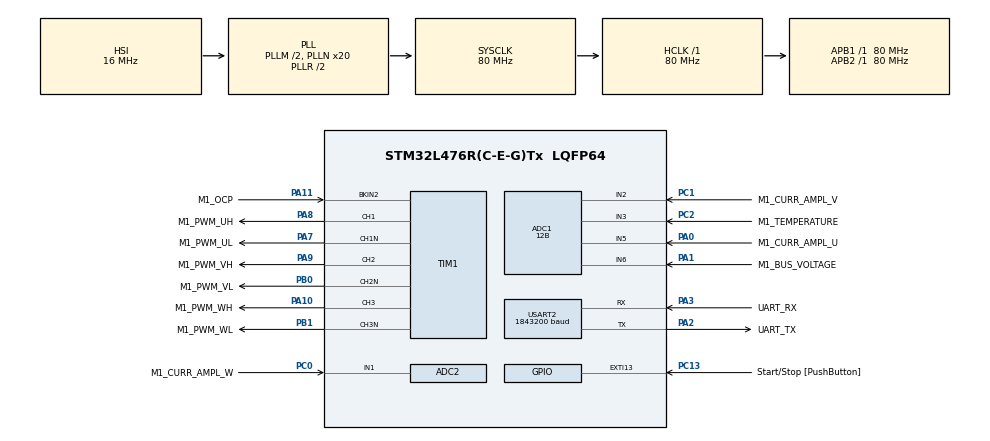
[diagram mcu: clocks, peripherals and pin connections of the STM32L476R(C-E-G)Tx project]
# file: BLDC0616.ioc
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ADC1.Channel-1\#ChannelRegularConversion=ADC_CHANNEL_6
ADC1.Channel-2\#ChannelRegularConversion=ADC_CHANNEL_3
ADC1.ClockPrescaler=ADC_CLOCK_ASYNC_DIV1
ADC1.ContinuousConvMode=DISABLE
ADC1.DMAContinuousRequests=DISABLE
ADC1.DataAlign=ADC_DATAALIGN_LEFT
ADC1.DiscontinuousConvMode=DISABLE
ADC1.EOCSelection=ADC_EOC_SINGLE_CONV
ADC1.EnableAnalogWatchDog1=false
ADC1.EnableAnalogWatchDog2=false
ADC1.EnableAnalogWatchDog3=false
ADC1.EnableInjectedConversion=ENABLE
ADC1.EnableRegularConversion=ENABLE
ADC1.ExternalTrigConv=ADC_SOFTWARE_START
ADC1.ExternalTrigConvEdge=ADC_EXTERNALTRIGCONVEDGE_NONE
ADC1.ExternalTrigInjecConv=ADC_EXTERNALTRIGINJEC_T1_TRGO
ADC1.ExternalTrigInjecConvEdge=ADC_EXTERNALTRIGINJECCONV_EDGE_RISING
ADC1.InjNumberOfConversion=2
ADC1.InjectedChannel-1\#ChannelInjectedConversion=ADC_CHANNEL_5
ADC1.InjectedChannel-2\#ChannelInjectedConversion=ADC_CHANNEL_2
ADC1.InjectedConvMode=None
ADC1.InjectedOffset-1\#ChannelInjectedConversion=0
ADC1.InjectedOffset-2\#ChannelInjectedConversion=0
ADC1.InjectedOffsetNumber-1\#ChannelInjectedConversion=ADC_OFFSET_NONE
ADC1.InjectedOffsetNumber-2\#ChannelInjectedConversion=ADC_OFFSET_NONE
ADC1.InjectedRank-1\#ChannelInjectedConversion=1
ADC1.InjectedRank-2\#ChannelInjectedConversion=2
ADC1.InjectedSamplingTime-1\#ChannelInjectedConversion=ADC_SAMPLETIME_12CYCLES_5
ADC1.InjectedSamplingTime-2\#ChannelInjectedConversion=ADC_SAMPLETIME_12CYCLES_5
ADC1.LowPowerAutoWait=DISABLE
ADC1.NbrOfConversion=2
ADC1.NbrOfConversionFlag=1
ADC1.Offset-1\#ChannelRegularConversion=0
ADC1.Offset-2\#ChannelRegularConversion=0
ADC1.OffsetNumber-1\#ChannelRegularConversion=ADC_OFFSET_NONE
ADC1.OffsetNumber-2\#ChannelRegularConversion=ADC_OFFSET_NONE
ADC1.Overrun=ADC_OVR_DATA_PRESERVED
ADC1.Rank-1\#ChannelRegularConversion=1
ADC1.Rank-2\#ChannelRegularConversion=2
ADC1.Resolution=ADC_RESOLUTION_12B
ADC1.SamplingTime-1\#ChannelRegularConversion=ADC_SAMPLETIME_92CYCLES_5
ADC1.SamplingTime-2\#ChannelRegularConversion=ADC_SAMPLETIME_92CYCLES_5
ADC1.ScanConvMode=ADC_SCAN_ENABLE
ADC1.master=1
ADC2.ClockPrescaler=ADC_CLOCK_ASYNC_DIV1
ADC2.ContinuousConvMode=DISABLE
ADC2.DMAContinuousRequests=DISABLE
ADC2.DataAlign=ADC_DATAALIGN_LEFT
ADC2.DiscontinuousConvMode=DISABLE
ADC2.EOCSelection=ADC_EOC_SINGLE_CONV
ADC2.EnableAnalogWatchDog1=false
ADC2.EnableAnalogWatchDog2=false
ADC2.EnableAnalogWatchDog3=false
ADC2.EnableInjectedConversion=ENABLE
ADC2.EnableRegularConversion=DISABLE
ADC2.ExternalTrigInjecConv=ADC_EXTERNALTRIGINJEC_T1_TRGO
ADC2.ExternalTrigInjecConvEdge=ADC_EXTERNALTRIGINJECCONV_EDGE_RISING
ADC2.InjNumberOfConversion=2
ADC2.InjectedChannel-1\#ChannelInjectedConversion=ADC_CHANNEL_2
ADC2.InjectedChannel-2\#ChannelInjectedConversion=ADC_CHANNEL_1
ADC2.InjectedConvMode=Discontinuous
ADC2.InjectedOffset-1\#ChannelInjectedConversion=0
ADC2.InjectedOffset-2\#ChannelInjectedConversion=0
ADC2.InjectedOffsetNumber-1\#ChannelInjectedConversion=ADC_OFFSET_NONE
ADC2.InjectedOffsetNumber-2\#ChannelInjectedConversion=ADC_OFFSET_NONE
ADC2.InjectedRank-1\#ChannelInjectedConversion=1
ADC2.InjectedRank-2\#ChannelInjectedConversion=2
ADC2.InjectedSamplingTime-1\#ChannelInjectedConversion=ADC_SAMPLETIME_12CYCLES_5
ADC2.InjectedSamplingTime-2\#ChannelInjectedConversion=ADC_SAMPLETIME_12CYCLES_5
ADC2.LowPowerAutoWait=DISABLE
ADC2.Overrun=ADC_OVR_DATA_PRESERVED
ADC2.Resolution=ADC_RESOLUTION_12B
ADC2.ScanConvMode=ADC_SCAN_ENABLE
ADC2.master=1
Dma.Request0=USART2_RX
Dma.Request1=USART2_TX
Dma.USART2_RX.0.Direction=DMA_PERIPH_TO_MEMORY
Dma.USART2_RX.0.Instance=DMA1_Channel6
Dma.USART2_RX.0.MemDataAlignment=DMA_MDATAALIGN_BYTE
Dma.USART2_RX.0.MemInc=DMA_MINC_ENABLE
Dma.USART2_RX.0.Mode=DMA_NORMAL
Dma.USART2_RX.0.PeriphDataAlignment=DMA_PDATAALIGN_BYTE
Dma.USART2_RX.0.PeriphInc=DMA_PINC_DISABLE
Dma.USART2_RX.0.Priority=DMA_PRIORITY_LOW
Dma.USART2_TX.1.Direction=DMA_MEMORY_TO_PERIPH
Dma.USART2_TX.1.Instance=DMA1_Channel7
Dma.USART2_TX.1.MemDataAlignment=DMA_MDATAALIGN_BYTE
Dma.USART2_TX.1.MemInc=DMA_MINC_ENABLE
Dma.USART2_TX.1.Mode=DMA_NORMAL
Dma.USART2_TX.1.PeriphDataAlignment=DMA_PDATAALIGN_BYTE
Dma.USART2_TX.1.PeriphInc=DMA_PINC_DISABLE
Dma.USART2_TX.1.Priority=DMA_PRIORITY_LOW
ExtraMW=MotorControl
ExtraMW.MotorControl.Config=MotorControl
ExtraMW.MotorControl.Mode=MotorControl
ExtraMW.MotorControl.Root=MCSDK_v6.4.2-Full/MotorControl
ExtraMW.MotorControl.Template=templates
Mcu.Family=STM32L4
Mcu.Name=STM32L476R(C-E-G)Tx
Mcu.Package=LQFP64
MotorControl.ADC_1_PERIPH=ADC1
MotorControl.ADC_2_PERIPH=ADC2
MotorControl.ADC_AHBPERIPH=RCC_AHBPeriph_ADC12
MotorControl.ADC_CLOCK_WB_DIV=1
MotorControl.ADC_PERIPH=ADC1
MotorControl.ADC_REFERENCE_VOLTAGE=3.3
MotorControl.BOARD=NUCLEO-L476RG
MotorControl.BUS_VOLTAGE_READING=true
MotorControl.CCMRAM_ENABLED=false
MotorControl.CLOCK_FREQUENCY=CPU_CLK_80_MHZ
MotorControl.CLOCK_SOURCE=INTERNAL
MotorControl.CPU_CLK_80_MHZ=true
MotorControl.CTLBOARD_NAME=NUCLEO-L476RG
MotorControl.CUBE_MX_VER=6.17.0
MotorControl.CURRENT_READING_TOPOLOGY=THREE_SHUNT_INDEPENDENT_RESOURCES
MotorControl.CURR_SAMPLING_TIME=12
MotorControl.DBG_MCU_LOAD_MEASURE=false
MotorControl.DEBUG_DAC_FUNCTIONALITY_EN=false
MotorControl.DRIVES_NUMBER_SELECTION=SINGLEDRIVE
MotorControl.DRIVE_NUMBER=1
MotorControl.DRIVE_TYPE=FOC
MotorControl.EMERGENCY_STOP_GPIO_PIN=LL_GPIO_PIN_11
MotorControl.EMERGENCY_STOP_GPIO_PORT=GPIOA
MotorControl.ENCODER_AVAILABLE=false
MotorControl.ENCODER_PPR=400
MotorControl.EXT_CLOCK_FREQUENCY=INT_RC_OSC
MotorControl.FEEDBACK_NET_FILTERING=false
MotorControl.FLASH_SIZE=1024
MotorControl.HALL_SENSORS_AVAILABLE=false
MotorControl.HIGH_SIDE_IDLE_STATE=false
MotorControl.HWV_CS=ThreeShunt_AmplifiedCurrents
MotorControl.HWV_OCP=OnPowerStageOCP
MotorControl.HWV_PWM=DrivingHighAndLowSides
MotorControl.HW_COMPLEMENTED_LOW_SIDE=false
MotorControl.HW_DEAD_TIME_NS=1000
MotorControl.INT_RC_OSC=true
MotorControl.IPs=NVIC,RCC,SYS,MotorControl,TIM1,ADC1,ADC2,USART2,DMA
MotorControl.LOW_MEMORY_FOOTPRINT_REG=false
MotorControl.LOW_SIDE_IDLE_STATE=false
MotorControl.LOW_SIDE_SIGNALS_ENABLING=LS_PWM_TIMER
MotorControl.M1_AMPLIFICATION_GAIN=5.18
MotorControl.M1_ANGC={0,0,0,0,0,0,0,0}
MotorControl.M1_AUXILIARY_SPEED_SENSOR=NONE
MotorControl.M1_BEMF_CONSISTENCY_GAIN=64
MotorControl.M1_BEMF_CONSISTENCY_TOL=64
MotorControl.M1_BOARD_MAX_CURRENT=14.175
MotorControl.M1_BUS_VOLTAGE_READING=true
MotorControl.M1_COMMUTATION_STEP_TIME_BUF_SIZE=12
MotorControl.M1_CONSTANT1_D=232159
MotorControl.M1_CONSTANT1_Q=232159
MotorControl.M1_CONSTANT2_QD=44062
MotorControl.M1_CS_ADC_NUM=2
MotorControl.M1_CS_ADC_PHASE_SHARED=V
MotorControl.M1_CS_ADC_U=ADC1
MotorControl.M1_CS_ADC_W=ADC2
MotorControl.M1_CS_CHANNEL_SHARED=2
MotorControl.M1_CS_CHANNEL_U=5
MotorControl.M1_CS_CHANNEL_V=2
MotorControl.M1_CS_CHANNEL_W=1
MotorControl.M1_CURRENT_AMPLIFICATION_TOPO=EXTERNAL
MotorControl.M1_CURRENT_SENSING_TOPO=THREE_SHUNT
MotorControl.M1_CURR_SAMPLING_TIME=12
MotorControl.M1_DBG_OPEN_LOOP_ENABLE=false
MotorControl.M1_DC_CURRENT_RS_MEAS=14.18
MotorControl.M1_DEFAULT_CONTROL_MODE=STC_SPEED_MODE
MotorControl.M1_DEFAULT_FLUX_COMPONENT=0
MotorControl.M1_DEFAULT_TARGET_SPEED_RPM=1799
MotorControl.M1_DEFAULT_TORQUE_COMPONENT=0
MotorControl.M1_DISCONTINUOUS_PWM=false
MotorControl.M1_DP_TOPOLOGY=NONE
MotorControl.M1_DRIVE_TYPE=FOC
MotorControl.M1_ENABLE_SL_ALGO_FROM_PHASE=2
MotorControl.M1_ENCODER_PPR=400
MotorControl.M1_F1=16384
MotorControl.M1_F2=4096
MotorControl.M1_FEED_FORWARD_CURRENT_REG_ENABLING=false
MotorControl.M1_FLUX_WEAKENING_ENABLING=false
MotorControl.M1_FW_KIDIV=32768
MotorControl.M1_FW_KI_GAIN=5000
MotorControl.M1_FW_KPDIV=32768
MotorControl.M1_FW_KP_GAIN=3000
MotorControl.M1_FW_VOLTAGE_REF=985
MotorControl.M1_GAIN1=-24188
MotorControl.M1_GAIN2=19539
MotorControl.M1_HALL_PHASE_SHIFT=300
MotorControl.M1_HALL_SENSORS_PLACEMENT=DEGREES_120
MotorControl.M1_HIGH_SIDE_IDLE_STATE=false
MotorControl.M1_HW_DEAD_TIME_NS=1000
MotorControl.M1_ICL_ENABLED=false
MotorControl.M1_ID_DEMAG=-14.175
MotorControl.M1_IQMAX=14.175
MotorControl.M1_LDLQ_RATIO=1.000
MotorControl.M1_LOW_SIDE_IDLE_STATE=false
MotorControl.M1_LOW_SIDE_SIGNALS_ENABLING=LS_PWM_TIMER
MotorControl.M1_LS=0.00028
MotorControl.M1_MAX_APPLICATION_SPEED=4998
MotorControl.M1_MAX_MODULATION_INDEX=100
MotorControl.M1_MIN_APPLICATION_SPEED=0
MotorControl.M1_MOTOR_MAX_SPEED_RPM=4998
MotorControl.M1_MOTOR_NAME=56JXE
MotorControl.M1_MOTOR_RATED_FLUX=0.085065594
MotorControl.M1_MOTOR_VOLTAGE_CONSTANT=3.5
MotorControl.M1_MTPA_ENABLING=false
MotorControl.M1_NB_CONSECUTIVE_TESTS=2
MotorControl.M1_NOMINAL_BUS_VOLTAGE_V=23
MotorControl.M1_NOMINAL_CURRENT=14.175
MotorControl.M1_OBS_MINIMUM_SPEED_RPM=1799
MotorControl.M1_OCP_BKIN_FILTER=4
MotorControl.M1_OCP_BKIN_MODE=EXT_MODE
MotorControl.M1_OCP_BKIN_POLARITY=EMSTOP_ACTIVE_LOW
MotorControl.M1_OCP_DESTINATION=TIM_BKIN2
MotorControl.M1_OCP_TOPOLOGY=EXTERNAL
MotorControl.M1_OFST={0,0,0,0,0,0,0,0}
MotorControl.M1_ON_OVER_VOLTAGE=TURN_OFF_PWM
MotorControl.M1_OVERMODULATION=false
MotorControl.M1_OVP_THRESHOLD_HIGH=28.1
MotorControl.M1_OV_TEMPERATURE_HYSTERESIS_C=10
MotorControl.M1_OV_TEMPERATURE_PROT_ENABLING=true
MotorControl.M1_OV_TEMPERATURE_THRESHOLD_C=110
MotorControl.M1_OV_VOLTAGE_PROT_ENABLING=true
MotorControl.M1_OV_VOLTAGE_THRESHOLD_V=28.1
MotorControl.M1_PHASE1_DURATION=1000
MotorControl.M1_PHASE1_FINAL_CURRENT=5
MotorControl.M1_PHASE1_FINAL_SPEED_RPM=0
MotorControl.M1_PHASE2_DURATION=3998
MotorControl.M1_PHASE2_FINAL_CURRENT=5
MotorControl.M1_PHASE2_FINAL_SPEED_RPM=1999
MotorControl.M1_PHASE3_DURATION=0
MotorControl.M1_PHASE3_FINAL_CURRENT=14.175
MotorControl.M1_PHASE3_FINAL_SPEED_RPM=1999
MotorControl.M1_PHASE4_DURATION=0
MotorControl.M1_PHASE4_FINAL_CURRENT=14.175
MotorControl.M1_PHASE4_FINAL_SPEED_RPM=1999
MotorControl.M1_PHASE5_DURATION=0
MotorControl.M1_PHASE5_FINAL_CURRENT=14.175
MotorControl.M1_PHASE5_FINAL_SPEED_RPM=1999
MotorControl.M1_PID_FLUX_KD_DEFAULT=100
MotorControl.M1_PID_FLUX_KI_DEFAULT=2365
MotorControl.M1_PID_FLUX_KP_DEFAULT=2339
MotorControl.M1_PID_SPEED_KD_DEFAULT=0
MotorControl.M1_PID_SPEED_KI_DEFAULT=24
MotorControl.M1_PID_SPEED_KP_DEFAULT=3051
MotorControl.M1_PID_TORQUE_KD_DEFAULT=100
MotorControl.M1_PID_TORQUE_KI_DEFAULT=2365
MotorControl.M1_PID_TORQUE_KP_DEFAULT=2339
MotorControl.M1_PLL_KI_GAIN=15
MotorControl.M1_PLL_KP_GAIN=332
MotorControl.M1_POLE_PAIR_NUM=2
MotorControl.M1_POSITION_CTRL_ENABLING=false
MotorControl.M1_POTENTIOMETER_ENABLE=false
MotorControl.M1_POWERBOARD_NAME=X-NUCLEO-IHM08M1
MotorControl.M1_PWM_CHARGE_BOOT_CAP_DUTY_CYCLES=0.000
MotorControl.M1_PWM_CHARGE_BOOT_CAP_MS=10
MotorControl.M1_PWM_DRIVER_PN=L6398
MotorControl.M1_PWM_FREQUENCY=16000
MotorControl.M1_PWM_TIMER_BRK_IRQ=TIM1_BRK_TIM15
MotorControl.M1_PWM_TIMER_SELECTION=PWM_TIM1
MotorControl.M1_PWM_TIMER_UP_IRQ=TIM1_UP_TIM16
MotorControl.M1_REGULATION_EXECUTION_RATE=1
MotorControl.M1_RS=0.14
MotorControl.M1_RSHUNT=0.01
MotorControl.M1_SEGDIV=0
MotorControl.M1_SHARED_SIGNAL_ENABLE=false
MotorControl.M1_SPD_DIFFERENTIAL_TERM_ENABLING=false
MotorControl.M1_SPEED_BAND_LOWER_LIMIT=15
MotorControl.M1_SPEED_BAND_UPPER_LIMIT=17
MotorControl.M1_SPEED_FEEDBACK_CHECK=true
MotorControl.M1_SPEED_LOOP_FREQUENCY_HZ=1000
MotorControl.M1_SPEED_SENSOR=STO_PLL
MotorControl.M1_SP_KDDIV=16
MotorControl.M1_SP_KIDIV=16384
MotorControl.M1_SP_KPDIV=16384
MotorControl.M1_SS_MEAS_ERRORS_BEFORE_FAULTS=100
MotorControl.M1_STARTING_ANGLE_DEG=0
MotorControl.M1_STO_FIFO_DEPTH_01HZ=64
MotorControl.M1_STO_FIFO_DEPTH_DPP=64
MotorControl.M1_SW_DEADTIME_NS=850
MotorControl.M1_T0_C=25
MotorControl.M1_TEMPERATURE_READING=true
MotorControl.M1_TEMP_ADC_SAMPLING_TIME=92
MotorControl.M1_TEMP_FDBK_ADC=ADC1
MotorControl.M1_TEMP_FDBK_CHANNEL=ADC_CHANNEL_3
MotorControl.M1_TF_KDDIV=8192
MotorControl.M1_TF_KIDIV=16384
MotorControl.M1_TF_KPDIV=512
MotorControl.M1_TNOISE_NS=1000
MotorControl.M1_TRANSITION_DURATION=25
MotorControl.M1_TRISE_NS=1000
MotorControl.M1_T_MAX=110
MotorControl.M1_UD_VOLTAGE_THRESHOLD_V=10.0
MotorControl.M1_USE_INTERNAL_OPAMP=false
MotorControl.M1_UV_VOLTAGE_PROT_ENABLING=true
MotorControl.M1_V0_V=1.055
MotorControl.M1_VARIANCE_THRESHOLD=0.25
MotorControl.M1_VBUS_ADC=ADC1
MotorControl.M1_VBUS_ADC_SAMPLING_TIME=92
MotorControl.M1_VBUS_CHANNEL=ADC_CHANNEL_6
MotorControl.M1_VBUS_PARTITIONING_FACTOR=0.052164840897235255
MotorControl.M1_dV_dT=0.023
MotorControl.MAX_READABLE_CURRENT=31.845
MotorControl.MCPA_OVER_UART_A_STREAM=10
MotorControl.MCP_ASPEP_OVER_UART=true
MotorControl.MCP_ASYNC_EN=true
MotorControl.MCP_ASYNC_OVER_ASPEP_EN=true
MotorControl.MCP_ASYNC_OVER_UART_A_EN=true
MotorControl.MCP_DMACH_RX_UART_A=6
MotorControl.MCP_DMACH_TX_UART_A=7
MotorControl.MCP_DMA_RX_UART_A=DMA1
MotorControl.MCP_DMA_TX_UART_A=DMA1
MotorControl.MCP_EN=true
MotorControl.MCP_IRQ_HANDLER_DMA_RX_UART_A=DMA1_Channel6_IRQHandler
MotorControl.MCP_IRQ_HANDLER_UART_A=USART2_IRQHandler
MotorControl.MCP_OVER_ASPEP_EN=true
MotorControl.MCP_OVER_STLNK_EN=false
MotorControl.MCP_OVER_UART_A_EN=true
MotorControl.MCP_OVER_UART_B_EN=false
MotorControl.MCP_RX_SYNC_PAYLOAD_MAX=128
MotorControl.MCP_TX_ASYNC_PAYLOAD_MAX_UART_A=2048
MotorControl.MCP_TX_SYNC_PAYLOAD_MAX=128
MotorControl.MCU=STM32L476RG
MotorControl.MCU_FAMILY=STM32L4
MotorControl.MCU_LINE=STM32L4x6
MotorControl.MCU_NAME=STM32L476R(C-E-G)Tx
MotorControl.MCU_PACKAGE=LQFP64
MotorControl.MCU_TYPE=STM32L476RG
MotorControl.MCU_USERNAME=STM32L476RGTx
MotorControl.MC_WORKBENCH_VERSION=6.4.2
MotorControl.MOTOR_PROFILER=false
MotorControl.MOTOR_TYPE=PMSM
MotorControl.ON_OVER_VOLTAGE=TURN_OFF_PWM
MotorControl.OV_TEMPERATURE_PROT_ENABLING=true
MotorControl.OV_VOLTAGE_PROT_ENABLING=true
MotorControl.PHASE_UH_GPIO_PIN=LL_GPIO_PIN_8
MotorControl.PHASE_UH_GPIO_PORT=GPIOA
MotorControl.PHASE_UH_POLARITY=H_ACTIVE_HIGH
MotorControl.PHASE_UL_GPIO_PIN=LL_GPIO_PIN_7
MotorControl.PHASE_UL_GPIO_PORT=GPIOA
MotorControl.PHASE_UL_POLARITY=L_ACTIVE_LOW
MotorControl.PHASE_U_CURR_ADC=ADC1
MotorControl.PHASE_U_CURR_CHANNEL=ADC_CHANNEL_5
MotorControl.PHASE_U_GPIO_PIN=LL_GPIO_PIN_0
MotorControl.PHASE_U_GPIO_PORT=GPIOA
MotorControl.PHASE_U_PWM_CHANNEL=TIM_Channel_1
MotorControl.PHASE_VH_GPIO_PIN=LL_GPIO_PIN_9
MotorControl.PHASE_VH_GPIO_PORT=GPIOA
MotorControl.PHASE_VH_POLARITY=H_ACTIVE_HIGH
MotorControl.PHASE_VL_GPIO_PIN=LL_GPIO_PIN_0
MotorControl.PHASE_VL_GPIO_PORT=GPIOB
MotorControl.PHASE_VL_POLARITY=L_ACTIVE_LOW
MotorControl.PHASE_V_CURR_ADC=ADC1
MotorControl.PHASE_V_CURR_CHANNEL=ADC_CHANNEL_2
MotorControl.PHASE_V_GPIO_PIN=LL_GPIO_PIN_1
MotorControl.PHASE_V_GPIO_PORT=GPIOC
MotorControl.PHASE_V_PWM_CHANNEL=TIM_Channel_2
MotorControl.PHASE_V_S_CURR_ADC=ADC2
MotorControl.PHASE_V_S_CURR_CHANNEL=ADC_CHANNEL_2
MotorControl.PHASE_V_S_GPIO_PIN=LL_GPIO_PIN_1
MotorControl.PHASE_V_S_GPIO_PORT=GPIOC
MotorControl.PHASE_WH_GPIO_PIN=LL_GPIO_PIN_10
MotorControl.PHASE_WH_GPIO_PORT=GPIOA
MotorControl.PHASE_WH_POLARITY=H_ACTIVE_HIGH
MotorControl.PHASE_WL_GPIO_PIN=LL_GPIO_PIN_1
MotorControl.PHASE_WL_GPIO_PORT=GPIOB
MotorControl.PHASE_WL_POLARITY=L_ACTIVE_LOW
MotorControl.PHASE_W_CURR_ADC=ADC2
MotorControl.PHASE_W_CURR_CHANNEL=ADC_CHANNEL_1
MotorControl.PHASE_W_GPIO_PIN=LL_GPIO_PIN_0
MotorControl.PHASE_W_GPIO_PORT=GPIOC
MotorControl.PHASE_W_PWM_CHANNEL=TIM_Channel_3
MotorControl.POTENTIOMETER_READING=false
MotorControl.PWM_FREQUENCY=16000
MotorControl.PWM_TIMER_SELECTION=PWM_TIM1
MotorControl.REGULATION_EXECUTION_RATE=1
MotorControl.RTOS=NONE
MotorControl.R_BRAKE_SWITCH_OFF_THRES_V=22
MotorControl.SINGLEDRIVE=true
MotorControl.SPD_DIFFERENTIAL_TERM_ENABLING=false
MotorControl.SPEED_SENSOR_SELECTION=STATE_OBSERVER_PLL
MotorControl.START_STOP_BTN=true
MotorControl.START_STOP_GPIO_IRQ=EXTI15_10
MotorControl.START_STOP_GPIO_PIN=LL_GPIO_PIN_13
MotorControl.START_STOP_GPIO_PORT=GPIOC
MotorControl.START_STOP_POLARITY=DIN_ACTIVE_LOW
MotorControl.START_STOP_POLARITY_EDGE=GPIO_NOPULL
MotorControl.STATE_OBSERVER_PLL=true
MotorControl.STM32L476RG=true
MotorControl.SW_DEADTIME_NS=850
MotorControl.TEMPERATURE_READING=true
MotorControl.TEMP_ADC_SAMPLING_TIME=92
MotorControl.TEMP_FDBK_ADC=ADC1
MotorControl.TEMP_FDBK_CHANNEL=ADC_CHANNEL_3
MotorControl.TEMP_FDBK_GPIO_PIN=LL_GPIO_PIN_2
MotorControl.TEMP_FDBK_GPIO_PORT=GPIOC
MotorControl.TFDIFFERENTIAL_TERM_ENABLING=false
MotorControl.THREE_SHUNT_INDEPENDENT_RESOURCES=true
MotorControl.TRISE_NS=1000
MotorControl.USART_RX_GPIO_PIN=LL_GPIO_PIN_3
MotorControl.USART_RX_GPIO_PORT=GPIOA
MotorControl.USART_SELECTION=USE_USART2
MotorControl.USART_SELECTION_A=USART2
MotorControl.USART_SPEED=1843200
MotorControl.USART_TX_GPIO_PIN=LL_GPIO_PIN_2
MotorControl.USART_TX_GPIO_PORT=GPIOA
MotorControl.USE_3OPAMPS=false
MotorControl.USE_INTERNAL_OPAMP=false
MotorControl.UV_VOLTAGE_PROT_ENABLING=true
MotorControl.VBUS_ADC=ADC1
MotorControl.VBUS_ADC_SAMPLING_TIME=92
MotorControl.VBUS_CHANNEL=ADC_CHANNEL_6
MotorControl.VBUS_GPIO_PIN=LL_GPIO_PIN_1
MotorControl.VBUS_GPIO_PORT=GPIOA
MotorControl.WB_MX_HEAPSIZE=0x200
MotorControl.WB_MX_STACKSIZE=0x400
MotorControl.WB_MX_TRUSTZONE_AVAILABLE=false
MotorControl.WB_UI_CUTOFF_FREQUENCY=6000
MotorControl.WB_UI_ENCODER_HAS_INDEX_PIN=false
MotorControl.WB_UI_FLUX_TARGET=0
MotorControl.WB_UI_FRICTION=0.39
MotorControl.WB_UI_INERTIA=0.05
MotorControl.WB_UI_MAGNETIC_STRUCTURE=SM-PMSM
MotorControl.WB_UI_MAX_CURRENT=14.175
MotorControl.WB_UI_MAX_NOMINAL_DC_VOLTAGE=23
MotorControl.WB_UI_MAX_PWMFREQUENCY=100000
MotorControl.WB_UI_MOTOR_DESCRIPTION=for E-bike
MotorControl.WB_UI_OCP_DISABLING_ENABLE=false
MotorControl.WB_UI_OCP_THRESHOLD=30
MotorControl.WB_UI_PW_BOARD_MAX_RATED_CURRENT=30
MotorControl.WB_UI_PW_BOARD_MAX_VOLTAGE=48
MotorControl.WB_UI_PW_BOARD_MIN_VOLTAGE=10
MotorControl.WB_UI_VPOL=1.71
MotorControl.WB_to_Mx_template_version=25-05-06
MotorControl.WB_to_Mx_version=6.4.2
NVIC.ADC1_2_IRQn=true\:2\:0\:true\:true\:false\:5\:true\:true\:true
NVIC.DMA1_Channel6_IRQn=true\:3\:0\:true\:true\:false\:2\:true\:true\:true
NVIC.EXTI15_10_IRQn=true\:3\:0\:false\:true\:false\:6\:true\:true\:true
NVIC.PriorityGroup=NVIC_PRIORITYGROUP_3
NVIC.TIM1_BRK_TIM15_IRQn=true\:4\:1\:true\:true\:false\:3\:true\:true\:true
NVIC.TIM1_UP_TIM16_IRQn=true\:0\:0\:false\:true\:false\:4\:true\:true\:true
NVIC.USART2_IRQn=true\:3\:1\:true\:true\:false\:1\:true\:true\:true
PA0.GPIO_Label=M1_CURR_AMPL_U
PA0.Signal=ADCx_IN5
PA1.GPIO_Label=M1_BUS_VOLTAGE
PA1.Signal=ADCx_IN6
PA10.GPIO_Label=M1_PWM_WH
PA10.GPIO_PuPd=GPIO_PULLDOWN
PA10.GPIO_Speed=GPIO_SPEED_FREQ_HIGH
PA10.Signal=S_TIM1_CH3
PA11.GPIO_Label=M1_OCP
PA11.GPIO_PuPd=GPIO_PULLUP
PA11.Mode=Activate-Break-Input-2
PA11.Signal=TIM1_BKIN2
PA13\ (JTMS-SWDIO).Mode=Serial_Wire
PA13\ (JTMS-SWDIO).Signal=SYS_JTMS-SWDIO
PA14\ (JTCK-SWCLK).Mode=Serial_Wire
PA14\ (JTCK-SWCLK).Signal=SYS_JTCK-SWCLK
PA2.GPIO_Label=UART_TX
PA2.GPIO_Mode=GPIO_MODE_AF_PP
PA2.GPIO_PuPd=GPIO_NOPULL
PA2.GPIO_Speed=GPIO_SPEED_FREQ_LOW
PA2.Mode=Asynchronous
PA2.Signal=USART2_TX
PA3.GPIO_Label=UART_RX
PA3.GPIO_Mode=GPIO_MODE_AF_PP
PA3.GPIO_PuPd=GPIO_NOPULL
PA3.GPIO_Speed=GPIO_SPEED_FREQ_LOW
PA3.Mode=Asynchronous
PA3.Signal=USART2_RX
PA7.GPIO_Label=M1_PWM_UL
PA7.GPIO_PuPd=GPIO_PULLUP
PA7.GPIO_Speed=GPIO_SPEED_FREQ_HIGH
PA7.Mode=PWM Generation1 CH1 CH1N
PA7.Signal=TIM1_CH1N
PA8.GPIO_Label=M1_PWM_UH
PA8.GPIO_PuPd=GPIO_PULLDOWN
PA8.GPIO_Speed=GPIO_SPEED_FREQ_HIGH
PA8.Signal=S_TIM1_CH1
PA9.GPIO_Label=M1_PWM_VH
PA9.GPIO_PuPd=GPIO_PULLDOWN
PA9.GPIO_Speed=GPIO_SPEED_FREQ_HIGH
PA9.Signal=S_TIM1_CH2
PB0.GPIO_Label=M1_PWM_VL
PB0.GPIO_PuPd=GPIO_PULLUP
PB0.GPIO_Speed=GPIO_SPEED_FREQ_HIGH
PB0.Mode=PWM Generation2 CH2 CH2N
PB0.Signal=TIM1_CH2N
PB1.GPIO_Label=M1_PWM_WL
PB1.GPIO_PuPd=GPIO_PULLUP
PB1.GPIO_Speed=GPIO_SPEED_FREQ_HIGH
PB1.Mode=PWM Generation3 CH3 CH3N
PB1.Signal=TIM1_CH3N
PC0.GPIO_Label=M1_CURR_AMPL_W
PC0.Signal=ADCx_IN1
PC1.GPIO_Label=M1_CURR_AMPL_V
PC1.Signal=SharedAnalog_PC1
PC13.GPIO_Label=Start/Stop [PushButton]
PC13.GPIO_ModeDefaultEXTI=GPIO_MODE_IT_FALLING
PC13.GPIO_PuPd=GPIO_NOPULL
PC13.Signal=GPXTI13
PC2.GPIO_Label=M1_TEMPERATURE
PC2.Signal=ADCx_IN3
ProjectManager.HeapSize=0x200
ProjectManager.StackSize=0x400
ProjectManager.TargetToolchain=STM32CubeIDE
RCC.ADCCLockSelection=RCC_ADCCLKSOURCE_SYSCLK
RCC.ADCFreq_Value=80000000
RCC.AHBFreq_Value=80000000
RCC.APB1Freq_Value=80000000
RCC.APB1TimFreq_Value=80000000
RCC.APB2Freq_Value=80000000
RCC.APB2TimFreq_Value=80000000
RCC.CortexFreq_Value=80000000
RCC.HCLKFreq_Value=80000000
RCC.HSE_VALUE=8000000
RCC.HSI_VALUE=16000000
RCC.LSE_VALUE=32768
RCC.MSI_VALUE=4000000
RCC.PLLM=2
RCC.PLLN=20
RCC.PLLSourceVirtual=RCC_PLLSOURCE_HSI
RCC.PREFETCH_ENABLE=1
RCC.SYSCLKFreq_VALUE=80000000
RCC.SYSCLKSource=RCC_SYSCLKSOURCE_PLLCLK
RCC.UART4CLockSelection=RCC_UART4CLKSOURCE_SYSCLK
RCC.UART5CLockSelection=RCC_UART5CLKSOURCE_SYSCLK
RCC.USART1CLockSelection=RCC_USART1CLKSOURCE_SYSCLK
RCC.USART2CLockSelection=RCC_USART2CLKSOURCE_SYSCLK
RCC.USART3CLockSelection=RCC_USART3CLKSOURCE_SYSCLK
RCC.USBFreq_Value=32000000
RCC.VCOOutputFreq_Value=160000000
SH.ADCx_IN1.0=ADC2_IN1,IN1-Single-Ended
SH.ADCx_IN3.0=ADC1_IN3,IN3-Single-Ended
SH.ADCx_IN5.0=ADC1_IN5,IN5-Single-Ended
SH.ADCx_IN6.0=ADC1_IN6,IN6-Single-Ended
SH.S_TIM1_CH1.0=TIM1_CH1,PWM Generation1 CH1 CH1N
SH.S_TIM1_CH2.0=TIM1_CH2,PWM Generation2 CH2 CH2N
SH.S_TIM1_CH3.0=TIM1_CH3,PWM Generation3 CH3 CH3N
SH.SharedAnalog_PC1.0=ADC1_IN2,IN2-Single-Ended
SH.SharedAnalog_PC1.1=ADC2_IN2,IN2-Single-Ended
TIM1.AutoReloadPreload=TIM_AUTORELOAD_PRELOAD_DISABLE
TIM1.AutomaticOutput=TIM_AUTOMATICOUTPUT_DISABLE
TIM1.Break2Filter=4
TIM1.Break2Polarity=TIM_BREAK2POLARITY_HIGH
TIM1.Break2State=TIM_BREAK2_ENABLE
TIM1.BreakFilter=0
TIM1.BreakPolarity=TIM_BREAKPOLARITY_HIGH
TIM1.BreakState=TIM_BREAK_DISABLE
TIM1.Channel=TIM_CHANNEL_4
TIM1.Channel-PWM\ Generation1\ CH1\ CH1N=TIM_CHANNEL_1
TIM1.Channel-PWM\ Generation2\ CH2\ CH2N=TIM_CHANNEL_2
TIM1.Channel-PWM\ Generation3\ CH3\ CH3N=TIM_CHANNEL_3
TIM1.Channel-PWM\ Generation4\ No\ Output=TIM_CHANNEL_4
TIM1.ClearInputSource=TIM_CLEARINPUTSOURCE_NONE
TIM1.ClockDivision=TIM_CLOCKDIVISION_DIV2
TIM1.CounterMode=TIM_COUNTERMODE_CENTERALIGNED1
TIM1.DeadTime=((DEAD_TIME_COUNTS) / 2)
TIM1.LockLevel=TIM_LOCKLEVEL_OFF
TIM1.OC1Preload_PWM=ENABLE
TIM1.OC2Preload_PWM=ENABLE
TIM1.OC3Preload_PWM=ENABLE
TIM1.OC4Preload_PWM=ENABLE
TIM1.OCFastMode_PWM=TIM_OCFAST_DISABLE
TIM1.OCIdleState_1=TIM_OCIDLESTATE_RESET
TIM1.OCIdleState_2=TIM_OCIDLESTATE_RESET
TIM1.OCIdleState_3=TIM_OCIDLESTATE_RESET
TIM1.OCIdleState_4=TIM_OCIDLESTATE_RESET
TIM1.OCMode_PWM-PWM\ Generation1\ CH1\ CH1N=TIM_OCMODE_PWM1
TIM1.OCMode_PWM-PWM\ Generation2\ CH2\ CH2N=TIM_OCMODE_PWM1
TIM1.OCMode_PWM-PWM\ Generation3\ CH3\ CH3N=TIM_OCMODE_PWM1
TIM1.OCMode_PWM-PWM\ Generation4\ No\ Output=TIM_OCMODE_PWM2
TIM1.OCNIdleState_1=TIM_OCNIDLESTATE_SET
TIM1.OCNIdleState_2=TIM_OCNIDLESTATE_SET
TIM1.OCNIdleState_3=TIM_OCNIDLESTATE_SET
TIM1.OCNPolarity_1=TIM_OCNPOLARITY_LOW
TIM1.OCNPolarity_2=TIM_OCNPOLARITY_LOW
TIM1.OCNPolarity_3=TIM_OCNPOLARITY_LOW
TIM1.OCPolarity_1=TIM_OCPOLARITY_HIGH
TIM1.OCPolarity_2=TIM_OCPOLARITY_HIGH
TIM1.OCPolarity_3=TIM_OCPOLARITY_HIGH
TIM1.OCPolarity_4=TIM_OCPOLARITY_HIGH
TIM1.OffStateIDLEMode=TIM_OSSI_ENABLE
TIM1.OffStateRunMode=TIM_OSSR_ENABLE
TIM1.Period=((PWM_PERIOD_CYCLES) / 2)
TIM1.Prescaler=((TIM_CLOCK_DIVIDER) - 1)
TIM1.Pulse-PWM\ Generation1\ CH1\ CH1N=((PWM_PERIOD_CYCLES) / 4)
TIM1.Pulse-PWM\ Generation2\ CH2\ CH2N=((PWM_PERIOD_CYCLES) / 4)
TIM1.Pulse-PWM\ Generation3\ CH3\ CH3N=((PWM_PERIOD_CYCLES) / 4)
TIM1.Pulse-PWM\ Generation4\ No\ Output=(((PWM_PERIOD_CYCLES) / 2) - (HTMIN))
TIM1.RepetitionCounter=(REP_COUNTER)
TIM1.SourceBRK2DigInput=TIM_BREAKINPUTSOURCE_ENABLE
TIM1.SourceBRK2DigInputPolarity=TIM_BREAKINPUTSOURCE_POLARITY_LOW
TIM1.SourceBRKDigInput=TIM_BREAKINPUTSOURCE_DISABLE
TIM1.TIM_MasterOutputTrigger=TIM_TRGO_OC4REF
TIM1.TIM_MasterOutputTrigger2=TIM_TRGO2_RESET
TIM1.TIM_MasterSlaveMode=TIM_MASTERSLAVEMODE_DISABLE
TIM1.TIM_SlaveMode=TIM_SLAVEMODE_TRIGGER
USART2.BaudRate=1843200
USART2.VirtualMode-Asynchronous=VM_ASYNC
USART2.WordLength=WORDLENGTH_8B
VP_MotorControl_MC_ENABLED.Mode=Enabled
VP_TIM1_VS_no_output4.Mode=PWM Generation4 No Output
board=custom

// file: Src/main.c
/* USER CODE BEGIN Header */
/**
  ******************************************************************************
  * @file           : main.c
  * @brief          : Main program body
  ******************************************************************************
  * @attention
  *
  * Copyright (c) 2026 STMicroelectronics.
  * All rights reserved.
  *
  * This software is licensed under terms that can be found in the LICENSE file
  * in the root directory of this software component.
  * If no LICENSE file comes with this software, it is provided AS-IS.
  *
  ******************************************************************************
  */
/* USER CODE END Header */
#include "main.h"

/* USER CODE BEGIN Includes */
#include "mc_api.h"
#include <stdio.h>
/* USER CODE END Includes */

/* USER CODE BEGIN PD */
#define IQ_START_S16A   1070   // ≈1.0A（1068 s16A/A換算）まず控えめ
#define IQ_MAX_S16A     6000   // ≈5.6A 安全上限
#define OVERSPEED_RPM   4000   // まずは余裕を持って4000。後で下げてキャップ動作確認
#define REVERSE_GUARD_RPM (-50) // これより逆転側に振れたら異常とみなす閾値（ノイズ耐性のため0より少し余裕を持たせる）
#ifndef RPM_TO_SPEED_UNIT
#define RPM_TO_SPEED_UNIT(rpm) ((int16_t)(((rpm) * SPEED_UNIT) / U_RPM))
#endif
/* USER CODE END PD */

ADC_HandleTypeDef hadc1;
ADC_HandleTypeDef hadc2;

TIM_HandleTypeDef htim1;

UART_HandleTypeDef huart2;
DMA_HandleTypeDef hdma_usart2_rx;
DMA_HandleTypeDef hdma_usart2_tx;

/* USER CODE BEGIN PV */
static uint8_t state = 0;
static int16_t lastIq = 0;
static uint32_t printTick = 0;
/* USER CODE END PV */

void SystemClock_Config(void);
static void MX_GPIO_Init(void);
static void MX_DMA_Init(void);
static void MX_ADC1_Init(void);
static void MX_ADC2_Init(void);
static void MX_TIM1_Init(void);
static void MX_USART2_UART_Init(void);
static void MX_NVIC_Init(void);

int main(void)
{

  /* MCU Configuration--------------------------------------------------------*/

  /* Reset of all peripherals, Initializes the Flash interface and the Systick. */
  HAL_Init();

  /* Configure the system clock */
  SystemClock_Config();

  /* Initialize all configured peripherals */
  MX_GPIO_Init();
  MX_DMA_Init();
  MX_ADC1_Init();
  MX_ADC2_Init();
  MX_TIM1_Init();
  MX_USART2_UART_Init();
  MX_MotorControl_Init();

  /* Initialize interrupts */
  MX_NVIC_Init();

  /* Infinite loop */
  while (1)
  {

    /* USER CODE BEGIN 3 */
	  switch (state) {
	    case 0:  // 起動（1回だけ）
	      MC_AcknowledgeFaultMotor1();
	      HAL_Delay(200);
	      MC_StartMotor1();
	      state = 1;
	      break;

	    case 1:  // 閉ループRUN到達を待ってトルクモードへ
	      if (MC_GetSTMStateMotor1() == RUN) {
	          MC_ProgramTorqueRampMotor1(IQ_START_S16A, 500);
	          lastIq = IQ_START_S16A;
	          state = 2;
	      } else if (MC_GetSTMStateMotor1() == FAULT_NOW ||
	                 MC_GetSTMStateMotor1() == FAULT_OVER) {
	          HAL_Delay(500);
	          state = 0;   // フォルトなら再起動
	      }
	      break;

	    case 2: {  // トルクモード＋速度キャップ（トルク制御からは抜けない）
	      int16_t spd = MC_GetMecSpeedAverageMotor1();
	      bool speedOk = MC_GetSpeedSensorReliabilityMotor1() &&
	                     (spd >= RPM_TO_SPEED_UNIT(REVERSE_GUARD_RPM));
	      // 信頼性低下/逆回転/オーバースピードのいずれかでIqを0に。
	      // MC_StopMotor1()は呼ばずRUN・トルク制御のままにして、
	      // 条件が消えたら次ループで自動的にIQ_START_S16Aへ復帰させる。
	      int16_t iqRef = (!speedOk || (spd > RPM_TO_SPEED_UNIT(OVERSPEED_RPM))) ? 0 : IQ_START_S16A;
	      if (iqRef != lastIq) {                       // 変化時だけ再指令
	          MC_ProgramTorqueRampMotor1(iqRef, 100);
	          lastIq = iqRef;
	      }
	      break;
	    }
	  }

	  if (HAL_GetTick() - printTick >= 200) {
	      printTick = HAL_GetTick();
	      qd_f_t iqd = MC_GetIqdMotor1_F();
	      printf("Iq=%.3fA Id=%.3fA\r\n", iqd.q, iqd.d);
	  }

	  HAL_Delay(5);
  }
  /* USER CODE END 3 */
}

void SystemClock_Config(void)
{
  RCC_OscInitTypeDef RCC_OscInitStruct = {0};
  RCC_ClkInitTypeDef RCC_ClkInitStruct = {0};

  /** Configure the main internal regulator output voltage
  */
  if (HAL_PWREx_ControlVoltageScaling(PWR_REGULATOR_VOLTAGE_SCALE1) != HAL_OK)
  {
    Error_Handler();
  }

  /** Initializes the RCC Oscillators according to the specified parameters
  * in the RCC_OscInitTypeDef structure.
  */
  RCC_OscInitStruct.OscillatorType = RCC_OSCILLATORTYPE_HSI;
  RCC_OscInitStruct.HSIState = RCC_HSI_ON;
  RCC_OscInitStruct.HSICalibrationValue = RCC_HSICALIBRATION_DEFAULT;
  RCC_OscInitStruct.PLL.PLLState = RCC_PLL_ON;
  RCC_OscInitStruct.PLL.PLLSource = RCC_PLLSOURCE_HSI;
  RCC_OscInitStruct.PLL.PLLM = 2;
  RCC_OscInitStruct.PLL.PLLN = 20;
  RCC_OscInitStruct.PLL.PLLP = RCC_PLLP_DIV7;
  RCC_OscInitStruct.PLL.PLLQ = RCC_PLLQ_DIV2;
  RCC_OscInitStruct.PLL.PLLR = RCC_PLLR_DIV2;
  if (HAL_RCC_OscConfig(&RCC_OscInitStruct) != HAL_OK)
  {
    Error_Handler();
  }

  /** Initializes the CPU, AHB and APB buses clocks
  */
  RCC_ClkInitStruct.ClockType = RCC_CLOCKTYPE_HCLK|RCC_CLOCKTYPE_SYSCLK
                              |RCC_CLOCKTYPE_PCLK1|RCC_CLOCKTYPE_PCLK2;
  RCC_ClkInitStruct.SYSCLKSource = RCC_SYSCLKSOURCE_PLLCLK;
  RCC_ClkInitStruct.AHBCLKDivider = RCC_SYSCLK_DIV1;
  RCC_ClkInitStruct.APB1CLKDivider = RCC_HCLK_DIV1;
  RCC_ClkInitStruct.APB2CLKDivider = RCC_HCLK_DIV1;

  if (HAL_RCC_ClockConfig(&RCC_ClkInitStruct, FLASH_LATENCY_4) != HAL_OK)
  {
    Error_Handler();
  }
}

/**
  * @brief NVIC Configuration.
  * @retval None
  */
static void MX_NVIC_Init(void)
{
  /* USART2_IRQn interrupt configuration */
  HAL_NVIC_SetPriority(USART2_IRQn, 3, 1);
  HAL_NVIC_EnableIRQ(USART2_IRQn);
  /* DMA1_Channel6_IRQn interrupt configuration */
  HAL_NVIC_SetPriority(DMA1_Channel6_IRQn, 3, 0);
  HAL_NVIC_EnableIRQ(DMA1_Channel6_IRQn);
  /* TIM1_BRK_TIM15_IRQn interrupt configuration */
  HAL_NVIC_SetPriority(TIM1_BRK_TIM15_IRQn, 4, 1);
  HAL_NVIC_EnableIRQ(TIM1_BRK_TIM15_IRQn);
  /* TIM1_UP_TIM16_IRQn interrupt configuration */
  HAL_NVIC_SetPriority(TIM1_UP_TIM16_IRQn, 0, 0);
  HAL_NVIC_EnableIRQ(TIM1_UP_TIM16_IRQn);
  /* ADC1_2_IRQn interrupt configuration */
  HAL_NVIC_SetPriority(ADC1_2_IRQn, 2, 0);
  HAL_NVIC_EnableIRQ(ADC1_2_IRQn);
  /* EXTI15_10_IRQn interrupt configuration */
  HAL_NVIC_SetPriority(EXTI15_10_IRQn, 3, 0);
  HAL_NVIC_EnableIRQ(EXTI15_10_IRQn);
}

static void MX_ADC1_Init(void)
{

  ADC_MultiModeTypeDef multimode = {0};
  ADC_InjectionConfTypeDef sConfigInjected = {0};
  ADC_ChannelConfTypeDef sConfig = {0};

  /** Common config
  */
  hadc1.Instance = ADC1;
  hadc1.Init.ClockPrescaler = ADC_CLOCK_ASYNC_DIV1;
  hadc1.Init.Resolution = ADC_RESOLUTION_12B;
  hadc1.Init.DataAlign = ADC_DATAALIGN_LEFT;
  hadc1.Init.ScanConvMode = ADC_SCAN_ENABLE;
  hadc1.Init.EOCSelection = ADC_EOC_SINGLE_CONV;
  hadc1.Init.LowPowerAutoWait = DISABLE;
  hadc1.Init.ContinuousConvMode = DISABLE;
  hadc1.Init.NbrOfConversion = 2;
  hadc1.Init.DiscontinuousConvMode = DISABLE;
  hadc1.Init.ExternalTrigConv = ADC_SOFTWARE_START;
  hadc1.Init.ExternalTrigConvEdge = ADC_EXTERNALTRIGCONVEDGE_NONE;
  hadc1.Init.DMAContinuousRequests = DISABLE;
  hadc1.Init.Overrun = ADC_OVR_DATA_PRESERVED;
  hadc1.Init.OversamplingMode = DISABLE;
  if (HAL_ADC_Init(&hadc1) != HAL_OK)
  {
    Error_Handler();
  }

  /** Configure the ADC multi-mode
  */
  multimode.Mode = ADC_MODE_INDEPENDENT;
  if (HAL_ADCEx_MultiModeConfigChannel(&hadc1, &multimode) != HAL_OK)
  {
    Error_Handler();
  }

  /** Disable Injected Queue
  */
  HAL_ADCEx_DisableInjectedQueue(&hadc1);

  /** Configure Injected Channel
  */
  sConfigInjected.InjectedChannel = ADC_CHANNEL_5;
  sConfigInjected.InjectedRank = ADC_INJECTED_RANK_1;
  sConfigInjected.InjectedSamplingTime = ADC_SAMPLETIME_12CYCLES_5;
  sConfigInjected.InjectedSingleDiff = ADC_SINGLE_ENDED;
  sConfigInjected.InjectedOffsetNumber = ADC_OFFSET_NONE;
  sConfigInjected.InjectedOffset = 0;
  sConfigInjected.InjectedNbrOfConversion = 2;
  sConfigInjected.InjectedDiscontinuousConvMode = DISABLE;
  sConfigInjected.AutoInjectedConv = DISABLE;
  sConfigInjected.QueueInjectedContext = DISABLE;
  sConfigInjected.ExternalTrigInjecConv = ADC_EXTERNALTRIGINJEC_T1_TRGO;
  sConfigInjected.ExternalTrigInjecConvEdge = ADC_EXTERNALTRIGINJECCONV_EDGE_RISING;
  sConfigInjected.InjecOversamplingMode = DISABLE;
  if (HAL_ADCEx_InjectedConfigChannel(&hadc1, &sConfigInjected) != HAL_OK)
  {
    Error_Handler();
  }

  /** Configure Injected Channel
  */
  sConfigInjected.InjectedChannel = ADC_CHANNEL_2;
  sConfigInjected.InjectedRank = ADC_INJECTED_RANK_2;
  if (HAL_ADCEx_InjectedConfigChannel(&hadc1, &sConfigInjected) != HAL_OK)
  {
    Error_Handler();
  }

  /** Configure Regular Channel
  */
  sConfig.Channel = ADC_CHANNEL_6;
  sConfig.Rank = ADC_REGULAR_RANK_1;
  sConfig.SamplingTime = ADC_SAMPLETIME_92CYCLES_5;
  sConfig.SingleDiff = ADC_SINGLE_ENDED;
  sConfig.OffsetNumber = ADC_OFFSET_NONE;
  sConfig.Offset = 0;
  if (HAL_ADC_ConfigChannel(&hadc1, &sConfig) != HAL_OK)
  {
    Error_Handler();
  }

  /** Configure Regular Channel
  */
  sConfig.Channel = ADC_CHANNEL_3;
  sConfig.Rank = ADC_REGULAR_RANK_2;
  if (HAL_ADC_ConfigChannel(&hadc1, &sConfig) != HAL_OK)
  {
    Error_Handler();
  }

}

static void MX_ADC2_Init(void)
{

  ADC_InjectionConfTypeDef sConfigInjected = {0};

  /** Common config
  */
  hadc2.Instance = ADC2;
  hadc2.Init.ClockPrescaler = ADC_CLOCK_ASYNC_DIV1;
  hadc2.Init.Resolution = ADC_RESOLUTION_12B;
  hadc2.Init.DataAlign = ADC_DATAALIGN_LEFT;
  hadc2.Init.ScanConvMode = ADC_SCAN_ENABLE;
  hadc2.Init.EOCSelection = ADC_EOC_SINGLE_CONV;
  hadc2.Init.LowPowerAutoWait = DISABLE;
  hadc2.Init.ContinuousConvMode = DISABLE;
  hadc2.Init.NbrOfConversion = 1;
  hadc2.Init.DiscontinuousConvMode = DISABLE;
  hadc2.Init.DMAContinuousRequests = DISABLE;
  hadc2.Init.Overrun = ADC_OVR_DATA_PRESERVED;
  hadc2.Init.OversamplingMode = DISABLE;
  if (HAL_ADC_Init(&hadc2) != HAL_OK)
  {
    Error_Handler();
  }

  /** Disable Injected Queue
  */
  HAL_ADCEx_DisableInjectedQueue(&hadc2);

  /** Configure Injected Channel
  */
  sConfigInjected.InjectedChannel = ADC_CHANNEL_2;
  sConfigInjected.InjectedRank = ADC_INJECTED_RANK_1;
  sConfigInjected.InjectedSamplingTime = ADC_SAMPLETIME_12CYCLES_5;
  sConfigInjected.InjectedSingleDiff = ADC_SINGLE_ENDED;
  sConfigInjected.InjectedOffsetNumber = ADC_OFFSET_NONE;
  sConfigInjected.InjectedOffset = 0;
  sConfigInjected.InjectedNbrOfConversion = 2;
  sConfigInjected.InjectedDiscontinuousConvMode = ENABLE;
  sConfigInjected.AutoInjectedConv = DISABLE;
  sConfigInjected.QueueInjectedContext = DISABLE;
  sConfigInjected.ExternalTrigInjecConv = ADC_EXTERNALTRIGINJEC_T1_TRGO;
  sConfigInjected.ExternalTrigInjecConvEdge = ADC_EXTERNALTRIGINJECCONV_EDGE_RISING;
  sConfigInjected.InjecOversamplingMode = DISABLE;
  if (HAL_ADCEx_InjectedConfigChannel(&hadc2, &sConfigInjected) != HAL_OK)
  {
    Error_Handler();
  }

  /** Configure Injected Channel
  */
  sConfigInjected.InjectedChannel = ADC_CHANNEL_1;
  sConfigInjected.InjectedRank = ADC_INJECTED_RANK_2;
  if (HAL_ADCEx_InjectedConfigChannel(&hadc2, &sConfigInjected) != HAL_OK)
  {
    Error_Handler();
  }

}

static void MX_TIM1_Init(void)
{

  TIM_MasterConfigTypeDef sMasterConfig = {0};
  TIMEx_BreakInputConfigTypeDef sBreakInputConfig = {0};
  TIM_OC_InitTypeDef sConfigOC = {0};
  TIM_BreakDeadTimeConfigTypeDef sBreakDeadTimeConfig = {0};

  htim1.Instance = TIM1;
  htim1.Init.Prescaler = ((TIM_CLOCK_DIVIDER) - 1);
  htim1.Init.CounterMode = TIM_COUNTERMODE_CENTERALIGNED1;
  htim1.Init.Period = ((PWM_PERIOD_CYCLES) / 2);
  htim1.Init.ClockDivision = TIM_CLOCKDIVISION_DIV2;
  htim1.Init.RepetitionCounter = (REP_COUNTER);
  htim1.Init.AutoReloadPreload = TIM_AUTORELOAD_PRELOAD_DISABLE;
  if (HAL_TIM_PWM_Init(&htim1) != HAL_OK)
  {
    Error_Handler();
  }
  sMasterConfig.MasterOutputTrigger = TIM_TRGO_OC4REF;
  sMasterConfig.MasterOutputTrigger2 = TIM_TRGO2_RESET;
  sMasterConfig.MasterSlaveMode = TIM_MASTERSLAVEMODE_DISABLE;
  if (HAL_TIMEx_MasterConfigSynchronization(&htim1, &sMasterConfig) != HAL_OK)
  {
    Error_Handler();
  }
  sBreakInputConfig.Source = TIM_BREAKINPUTSOURCE_BKIN;
  sBreakInputConfig.Enable = TIM_BREAKINPUTSOURCE_ENABLE;
  sBreakInputConfig.Polarity = TIM_BREAKINPUTSOURCE_POLARITY_LOW;
  if (HAL_TIMEx_ConfigBreakInput(&htim1, TIM_BREAKINPUT_BRK2, &sBreakInputConfig) != HAL_OK)
  {
    Error_Handler();
  }
  sConfigOC.OCMode = TIM_OCMODE_PWM1;
  sConfigOC.Pulse = ((PWM_PERIOD_CYCLES) / 4);
  sConfigOC.OCPolarity = TIM_OCPOLARITY_HIGH;
  sConfigOC.OCNPolarity = TIM_OCNPOLARITY_LOW;
  sConfigOC.OCFastMode = TIM_OCFAST_DISABLE;
  sConfigOC.OCIdleState = TIM_OCIDLESTATE_RESET;
  sConfigOC.OCNIdleState = TIM_OCNIDLESTATE_SET;
  if (HAL_TIM_PWM_ConfigChannel(&htim1, &sConfigOC, TIM_CHANNEL_1) != HAL_OK)
  {
    Error_Handler();
  }
  if (HAL_TIM_PWM_ConfigChannel(&htim1, &sConfigOC, TIM_CHANNEL_2) != HAL_OK)
  {
    Error_Handler();
  }
  if (HAL_TIM_PWM_ConfigChannel(&htim1, &sConfigOC, TIM_CHANNEL_3) != HAL_OK)
  {
    Error_Handler();
  }
  sConfigOC.OCMode = TIM_OCMODE_PWM2;
  sConfigOC.Pulse = (((PWM_PERIOD_CYCLES) / 2) - (HTMIN));
  sConfigOC.OCNIdleState = TIM_OCNIDLESTATE_RESET;
  if (HAL_TIM_PWM_ConfigChannel(&htim1, &sConfigOC, TIM_CHANNEL_4) != HAL_OK)
  {
    Error_Handler();
  }
  sBreakDeadTimeConfig.OffStateRunMode = TIM_OSSR_ENABLE;
  sBreakDeadTimeConfig.OffStateIDLEMode = TIM_OSSI_ENABLE;
  sBreakDeadTimeConfig.LockLevel = TIM_LOCKLEVEL_OFF;
  sBreakDeadTimeConfig.DeadTime = ((DEAD_TIME_COUNTS) / 2);
  sBreakDeadTimeConfig.BreakState = TIM_BREAK_DISABLE;
  sBreakDeadTimeConfig.BreakPolarity = TIM_BREAKPOLARITY_HIGH;
  sBreakDeadTimeConfig.BreakFilter = 0;
  sBreakDeadTimeConfig.Break2State = TIM_BREAK2_ENABLE;
  sBreakDeadTimeConfig.Break2Polarity = TIM_BREAK2POLARITY_HIGH;
  sBreakDeadTimeConfig.Break2Filter = 4;
  sBreakDeadTimeConfig.AutomaticOutput = TIM_AUTOMATICOUTPUT_DISABLE;
  if (HAL_TIMEx_ConfigBreakDeadTime(&htim1, &sBreakDeadTimeConfig) != HAL_OK)
  {
    Error_Handler();
  }
  HAL_TIM_MspPostInit(&htim1);

}

static void MX_USART2_UART_Init(void)
{

  huart2.Instance = USART2;
  huart2.Init.BaudRate = 1843200;
  huart2.Init.WordLength = UART_WORDLENGTH_8B;
  huart2.Init.StopBits = UART_STOPBITS_1;
  huart2.Init.Parity = UART_PARITY_NONE;
  huart2.Init.Mode = UART_MODE_TX_RX;
  huart2.Init.HwFlowCtl = UART_HWCONTROL_NONE;
  huart2.Init.OverSampling = UART_OVERSAMPLING_16;
  huart2.Init.OneBitSampling = UART_ONE_BIT_SAMPLE_DISABLE;
  huart2.AdvancedInit.AdvFeatureInit = UART_ADVFEATURE_NO_INIT;
  if (HAL_UART_Init(&huart2) != HAL_OK)
  {
    Error_Handler();
  }

}

static void MX_DMA_Init(void)
{

  /* DMA controller clock enable */
  __HAL_RCC_DMA1_CLK_ENABLE();

}

static void MX_GPIO_Init(void)
{
  GPIO_InitTypeDef GPIO_InitStruct = {0};

  /* GPIO Ports Clock Enable */
  __HAL_RCC_GPIOC_CLK_ENABLE();
  __HAL_RCC_GPIOA_CLK_ENABLE();
  __HAL_RCC_GPIOB_CLK_ENABLE();

  /*Configure GPIO pin : Start_Stop_Pin */
  GPIO_InitStruct.Pin = Start_Stop_Pin;
  GPIO_InitStruct.Mode = GPIO_MODE_IT_FALLING;
  GPIO_InitStruct.Pull = GPIO_NOPULL;
  HAL_GPIO_Init(Start_Stop_GPIO_Port, &GPIO_InitStruct);

}

/* USER CODE BEGIN 4 */
/* Retarget printf to the debugger console via semihosting (SYS_WRITEC),
 * guarded by C_DEBUGEN so it's a no-op (not a HardFault) when no debugger
 * is attached. Keeps USART2 free for MCP and avoids SWO wiring entirely. */
int __io_putchar(int ch)
{
  if ((CoreDebug->DHCSR & CoreDebug_DHCSR_C_DEBUGEN_Msk) != 0UL)
  {
    static uint8_t c;
    c = (uint8_t)ch;
    register uint32_t r0 __asm__("r0") = 0x03; /* SYS_WRITEC */
    register void    *r1 __asm__("r1") = &c;
    __asm__ volatile ("bkpt #0xAB" : "+r"(r0) : "r"(r1) : "memory");
  }
  return ch;
}
/* USER CODE END 4 */

void Error_Handler(void)
{
  __disable_irq();
  while (1)
  {
  }
}
